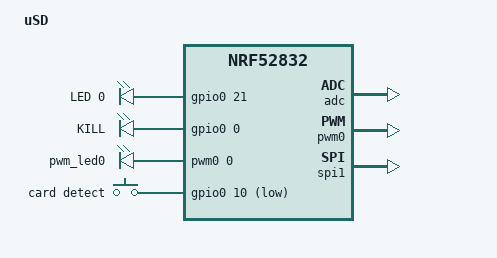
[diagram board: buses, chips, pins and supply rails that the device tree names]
// Copyright (c) 2023 Nordic Semiconductor ASA
// SPDX-License-Identifier: Apache-2.0

/dts-v1/;
#include <nordic/nrf52832_ciaa.dtsi>
#include "uSD-pinctrl.dtsi"

/ {
	model = "uSD";
	compatible = "jedocs,uSD";

	chosen {
		zephyr,sram = &sram0;
		zephyr,flash = &flash0;
		zephyr,code-partition = &slot0_partition;
	};
	
	leds {
		compatible = "gpio-leds";
		led0: led_0 {
			gpios = <&gpio0 21 GPIO_ACTIVE_HIGH>;
			label = "LED 0";
		};
		led1: kill {
			gpios = <&gpio0 0 GPIO_ACTIVE_HIGH>;
			label = "KILL";
		};
		
	};

	pwmleds {
		compatible = "pwm-leds";
		pwm_led0: pwm_led_0 {
			pwms = <&pwm0 0 PWM_USEC(20) PWM_POLARITY_NORMAL>;
		};
	};
	
	buttons {
		compatible = "gpio-keys";
		button0: button_0 {
			gpios = <&gpio0 10 GPIO_ACTIVE_LOW>;
			label = "card detect";
		};
	};
	
	/* These aliases are provided for compatibility with samples */
	aliases {
		led0 = &led0;
		kill = &led1;
		carddetect = &button0;
	};
};

&adc {
	status = "okay";
};

&gpiote {
	status = "okay";
};

&gpio0 {
	status = "okay";
};

&pwm0 {
	status = "okay";
	pinctrl-0 = <&pwm0_default>;
	pinctrl-1 = <&pwm0_sleep>;
	pinctrl-names = "default", "sleep";
};

&spi1 {
	compatible = "nordic,nrf-spi";
	status = "okay";
	pinctrl-0 = <&spi1_default>;
	pinctrl-1 = <&spi1_sleep>;
	pinctrl-names = "default", "sleep";
};

&flash0 {
	partitions {
		compatible = "fixed-partitions";
		#address-cells = <1>;
		#size-cells = <1>;

		boot_partition: partition@0 {
			label = "mcuboot";
			reg = <0x0 0xc000>;
		};
		slot0_partition: partition@c000 {
			label = "image-0";
			reg = <0xc000 0x32000>;
		};
		slot1_partition: partition@3e000 {
			label = "image-1";
			reg = <0x3e000 0x32000>;
		};
		scratch_partition: partition@70000 {
			label = "image-scratch";
			reg = <0x70000 0xa000>;
		};
		storage_partition: partition@7a000 {
			label = "storage";
			reg = <0x7a000 0x6000>;
		};
	};
};

